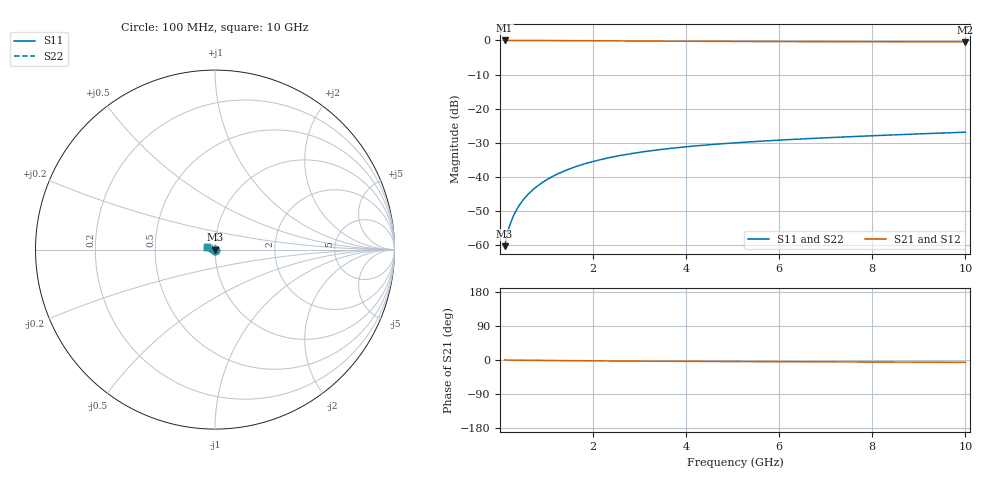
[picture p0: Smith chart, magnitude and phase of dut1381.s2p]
! Touchstone file exported from HFSS 2024.1.0
!  File:  C:/UserFiles/LocalFiles/RDL_TSV_Batchsim/temp_TSV1_1381_1780380179.aedt
!  Generated:  02:11:30 PM Jun  2, 2026
!  Design:  TSV1
!  Project:  temp_TSV1_1381_1780380179
!  Setup:  Setup1
!  Solution:  Sweep
! Variables:
!  dtsv = 7.16um
!  hbump = 3um
!  htsv = 94.46um
!  lrdl = 252.1521522um
!  p = 40
!  p1 = 49.27um
!  t = 500um
!  trdl = 3um
!  wrdl = 24.89489489um
# GHz S MA R 50.000000
! Terminal data exported
! Port[1] = TSV22_T1
! Port[2] = TSV22_T2
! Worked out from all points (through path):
!   100 points, 100 MHz to 10 GHz, reference 50 ohm
!   highest |S21| = 0.00 dB at 100 MHz (marker M1); lowest = -0.4 dB at 10 GHz (marker M2)
!   lowest |S11| = -60.2 dB at 100 MHz (marker M3), VSWR 1.00, Z = 50 - j0.0934 ohm
!   |S11| at or under -10 dB: start of sweep to end of sweep
!   |S22| runs from -60.2 to -26.9 dB; largest |S21 - S12| = 9e-15
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0.1  0.0009749 -73.3  0.9997 -0.1  0.9997 -0.1  0.0009749 -73.3
! Gamma 0 0 0 0
! Port Impedance 50 0 50 0
0.2  0.001889 -84.3  0.9995 -0.3  0.9995 -0.3  0.001889 -84.3
0.3  0.002813 -89.4  0.9994 -0.4  0.9994 -0.4  0.002813 -89.4
0.4  0.003735 -92.9  0.9991 -0.5  0.9991 -0.5  0.003735 -92.9
0.5  0.004653 -95.8  0.9988 -0.6  0.9988 -0.6  0.004653 -95.8
0.6  0.005563 -98.4  0.9985 -0.7  0.9985 -0.7  0.005563 -98.4
0.7  0.006464 -100.8  0.9981 -0.9  0.9981 -0.9  0.006464 -100.8
0.8  0.007356 -103.0  0.9976 -1.0  0.9976 -1.0  0.007356 -103.0
0.9  0.008235 -105.2  0.9971 -1.1  0.9971 -1.1  0.008235 -105.2
1.1  0.009956 -109.3  0.996 -1.3  0.996 -1.3  0.009956 -109.3
1.4  0.01243 -115.1  0.994 -1.6  0.994 -1.6  0.01243 -115.1
1.6  0.01399 -118.8  0.9925 -1.8  0.9925 -1.8  0.01399 -118.8
1.8  0.01549 -122.4  0.991 -2.0  0.991 -2.0  0.01549 -122.4
2.1  0.0176 -127.5  0.9885 -2.3  0.9885 -2.3  0.0176 -127.5
2.5  0.02018 -133.9  0.9852 -2.6  0.9852 -2.6  0.02018 -133.9
2.9  0.02249 -139.8  0.9819 -2.9  0.9819 -2.9  0.02249 -139.8
3.4  0.02506 -146.7  0.9781 -3.2  0.9781 -3.2  0.02506 -146.7
4.2  0.02857 -156.5  0.9726 -3.6  0.9726 -3.6  0.02857 -156.4
5.1  0.03187 -166.0  0.9676 -4.1  0.9676 -4.1  0.03187 -166.0
6.7  0.03676 180.0  0.961 -4.7  0.961 -4.7  0.03676 -180.0
8.4  0.04132 168.1  0.9562 -5.4  0.9562 -5.4  0.04132 168.1
10  0.04541 158.9  0.9531 -6.1  0.9531 -6.1  0.04541 158.9
